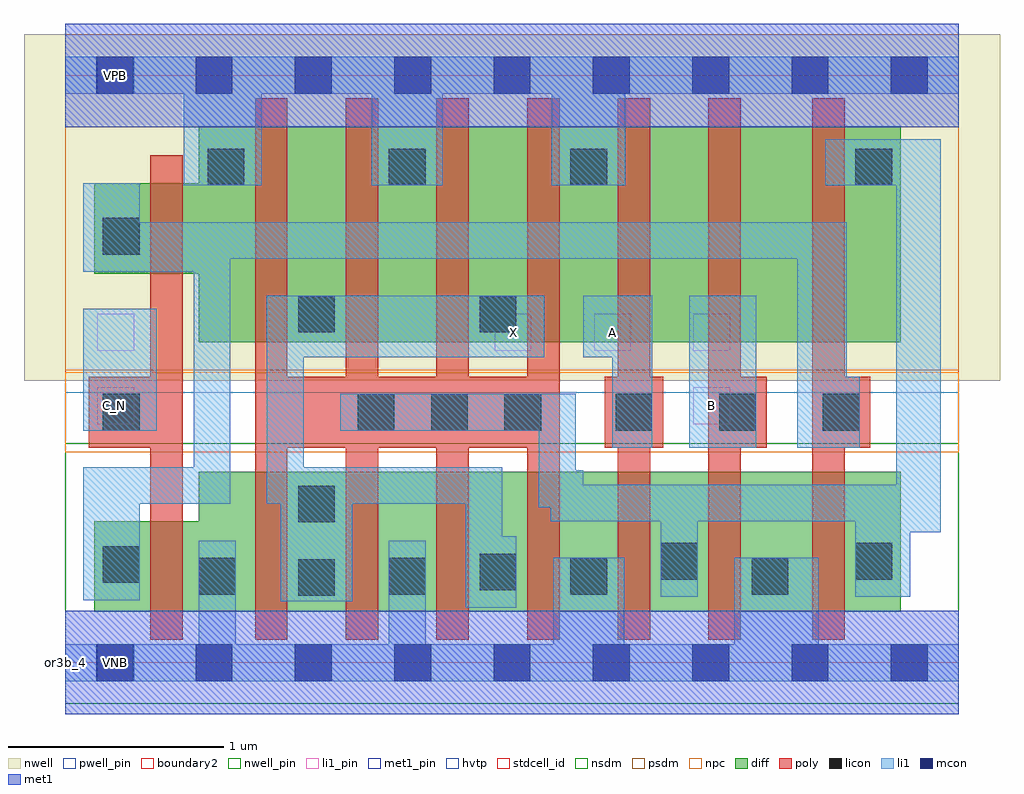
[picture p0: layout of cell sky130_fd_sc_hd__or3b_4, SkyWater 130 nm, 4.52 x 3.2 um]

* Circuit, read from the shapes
.subckt sky130_fd_sc_hd__or3b_4 A B C_N VGND VNB VPB VPWR X
XM1 VGND C_N n1 VNB sky130_fd_pr__nfet_01v8 w=0.42 l=0.15
XM2 X n2 VGND VNB sky130_fd_pr__nfet_01v8 w=0.65 l=0.15 m=4
XM3 n2 A VGND VNB sky130_fd_pr__nfet_01v8 w=0.65 l=0.15
XM4 VGND B n2 VNB sky130_fd_pr__nfet_01v8 w=0.65 l=0.15
XM5 n2 n1 VGND VNB sky130_fd_pr__nfet_01v8 w=0.65 l=0.15
XM6 VPWR C_N n1 VPB sky130_fd_pr__pfet_01v8_hvt w=0.42 l=0.15
XM7 X n2 VPWR VPB sky130_fd_pr__pfet_01v8_hvt w=1 l=0.15 m=4
XM8 n3 A VPWR VPB sky130_fd_pr__pfet_01v8_hvt w=1 l=0.15
XM9 n4 B n3 VPB sky130_fd_pr__pfet_01v8_hvt w=1 l=0.15
XM10 n2 n1 n4 VPB sky130_fd_pr__pfet_01v8_hvt w=1 l=0.15
.ends

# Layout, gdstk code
import gdstk
lib = gdstk.Library(unit=1e-6, precision=1e-09)
def R(c, l, rs):  # rectangles x0, y0, x1, y1
    for r in rs: c.add(gdstk.rectangle(r[:2], r[2:], *l))
def A(c, l, x, y, w, h, nx, ny, dx, dy):  # array of equal rectangles
    R(c, l, [(x+i*dx, y+j*dy, x+i*dx+w, y+j*dy+h) for i in range(nx) for j in range(ny)])
def P(c, l, *ps):  # polygons
    for p in ps: c.add(gdstk.Polygon(p, *l))
nwell_pin = (64, 16)
nwell = (64, 20)
diff = (65, 20)
poly = (66, 20)
licon = (66, 44)
li1_pin = (67, 16)
li1 = (67, 20)
mcon = (67, 44)
met1_pin = (68, 16)
met1 = (68, 20)
hvtp = (78, 44)
stdcell_id = (81, 4)
nsdm = (93, 44)
psdm = (94, 20)
npc = (95, 20)
pwell_pin = (122, 16)
boundary2 = (236, 0)

sky130_fd_sc_hd__or3b_4 = lib.new_cell('sky130_fd_sc_hd__or3b_4')
R(sky130_fd_sc_hd__or3b_4, nwell_pin, [(0.15,2.635,0.32,2.805)])
R(sky130_fd_sc_hd__or3b_4, nwell, [(-0.19,1.305,4.33,2.91)])
P(sky130_fd_sc_hd__or3b_4, diff, [(3.87,2.485),(0.62,2.485),(0.62,2.22),(0.135,2.22),(0.135,1.8),(0.62,1.8),(0.62,1.485),(3.87,1.485)],
  [(3.87,0.885),(0.62,0.885),(0.62,0.655),(0.135,0.655),(0.135,0.235),(3.87,0.235)])
P(sky130_fd_sc_hd__or3b_4, poly, [(3.73,1.325),(3.61,1.325),(3.61,2.615),(3.46,2.615),(3.46,0.105),(3.61,0.105),(3.61,0.995),(3.73,0.995)],
  [(3.25,1.325),(3.13,1.325),(3.13,2.615),(2.98,2.615),(2.98,0.105),(3.13,0.105),(3.13,0.995),(3.25,0.995)],
  [(2.29,2.615),(2.14,2.615),(2.14,1.325),(1.87,1.325),(1.87,2.615),(1.72,2.615),(1.72,1.325),(1.45,1.325),(1.45,2.615),(1.3,2.615),(1.3,1.325),(1.03,1.325),(1.03,2.615),(0.88,2.615),(0.88,0.105),(1.03,0.105),(1.03,0.995),(1.3,0.995),(1.3,0.105),(1.45,0.105),(1.45,0.995),(1.72,0.995),(1.72,0.105),(1.87,0.105),(1.87,0.995),(2.14,0.995),(2.14,0.105),(2.29,0.105)],
  [(2.77,1.325),(2.71,1.325),(2.71,2.615),(2.56,2.615),(2.56,1.325),(2.5,1.325),(2.5,0.995),(2.56,0.995),(2.56,0.105),(2.71,0.105),(2.71,0.995),(2.77,0.995)],
  [(0.545,2.35),(0.395,2.35),(0.395,1.325),(0.11,1.325),(0.11,0.995),(0.395,0.995),(0.395,0.105),(0.545,0.105)])
A(sky130_fd_sc_hd__or3b_4, licon, 1.5, 0.315, 0.17, 0.17, 3, 1, 0.84, 0)
A(sky130_fd_sc_hd__or3b_4, licon, 1.355, 1.075, 0.17, 0.17, 3, 1, 0.34, 0)
A(sky130_fd_sc_hd__or3b_4, licon, 2.55, 1.075, 0.17, 0.17, 3, 1, 0.48, 0)
A(sky130_fd_sc_hd__or3b_4, licon, 0.66, 2.21, 0.17, 0.17, 3, 1, 0.84, 0)
R(sky130_fd_sc_hd__or3b_4, licon, [(1.08,0.31,1.25,0.48), (0.62,0.315,0.79,0.485), (1.92,0.335,2.09,0.505), (0.175,0.37,0.345,0.54), (2.76,0.385,2.93,0.555), (3.66,0.385,3.83,0.555), (1.08,0.65,1.25,0.82), (0.175,1.075,0.345,1.245), (1.08,1.53,1.25,1.7), (1.92,1.53,2.09,1.7), (0.175,1.89,0.345,2.06), (3.66,2.21,3.83,2.38)])
A(sky130_fd_sc_hd__or3b_4, li1_pin, 1.99, 1.445, 0.17, 0.17, 3, 1, 0.46, 0)
R(sky130_fd_sc_hd__or3b_4, li1_pin, [(0.15,1.105,0.32,1.275), (2.91,1.105,3.08,1.275), (0.15,1.445,0.32,1.615)])
R(sky130_fd_sc_hd__or3b_4, li1, [(2.89,0.995,3.2,1.7), (0.085,1.075,0.425,1.64)])
P(sky130_fd_sc_hd__or3b_4, li1, [(2.22,1.7),(0.935,1.7),(0.935,0.735),(1,0.735),(1,0.285),(1.33,0.285),(1.33,0.735),(1.855,0.735),(1.855,0.255),(2.09,0.255),(2.09,0.585),(2.025,0.585),(2.025,0.905),(1.105,0.905),(1.105,1.415),(2.22,1.415)],
  [(4.14,0.085),(3.49,0.085),(3.49,0.485),(3.1,0.485),(3.1,0.085),(2.59,0.085),(2.59,0.485),(2.26,0.485),(2.26,0.085),(1.67,0.085),(1.67,0.565),(1.5,0.565),(1.5,0.085),(0.79,0.085),(0.79,0.565),(0.62,0.565),(0.62,0.085),(0,0.085),(0,-0.085),(4.14,-0.085)],
  [(4.14,2.805),(0,2.805),(0,2.635),(0.55,2.635),(0.55,2.21),(0.91,2.21),(0.91,2.635),(1.42,2.635),(1.42,2.21),(1.75,2.21),(1.75,2.635),(2.255,2.635),(2.255,2.21),(2.595,2.21),(2.595,2.635),(4.14,2.635)],
  [(2.72,1.7),(2.4,1.7),(2.4,1.415),(2.535,1.415),(2.535,0.995),(2.72,0.995)],
  [(3.68,1.325),(3.62,1.325),(3.62,2.04),(0.345,2.04),(0.345,2.22),(0.085,2.22),(0.085,1.81),(0.595,1.81),(0.595,0.905),(0.085,0.905),(0.085,0.29),(0.345,0.29),(0.345,0.735),(0.765,0.735),(0.765,1.87),(3.39,1.87),(3.39,0.995),(3.68,0.995)],
  [(4.055,2.425),(3.52,2.425),(3.52,2.21),(3.85,2.21),(3.85,0.825),(2.4,0.825),(2.4,0.89),(2.365,0.89),(2.365,1.245),(1.275,1.245),(1.275,1.075),(2.195,1.075),(2.195,0.72),(2.25,0.72),(2.25,0.655),(2.76,0.655),(2.76,0.305),(2.93,0.305),(2.93,0.655),(3.66,0.655),(3.66,0.305),(3.915,0.305),(3.915,0.605),(4.055,0.605)])
A(sky130_fd_sc_hd__or3b_4, mcon, 0.145, -0.085, 0.17, 0.17, 9, 2, 0.46, 2.72)
R(sky130_fd_sc_hd__or3b_4, met1_pin, [(0.15,-0.085,0.32,0.085), (0.15,2.635,0.32,2.805)])
R(sky130_fd_sc_hd__or3b_4, hvtp, [(0,1.25,4.14,2.72)])
R(sky130_fd_sc_hd__or3b_4, stdcell_id, [(0,0,4.14,2.72)])
R(sky130_fd_sc_hd__or3b_4, nsdm, [(0,-0.19,4.14,1.015)])
R(sky130_fd_sc_hd__or3b_4, psdm, [(0,1.355,4.14,2.91)])
R(sky130_fd_sc_hd__or3b_4, npc, [(0,0.975,4.14,1.345)])
R(sky130_fd_sc_hd__or3b_4, pwell_pin, [(0.15,-0.085,0.32,0.085)])
R(sky130_fd_sc_hd__or3b_4, boundary2, [(0,0,4.14,2.72)])
sky130_fd_sc_hd__or3b_4.add(gdstk.FlexPath([(0,2.72),(4.14,2.72)], 0.48, ends="flush", simple_path=True, layer=68, datatype=20))  # met1
sky130_fd_sc_hd__or3b_4.add(gdstk.FlexPath([(0,0),(4.14,0)], 0.48, ends="flush", simple_path=True, layer=68, datatype=20))  # met1
sky130_fd_sc_hd__or3b_4.add(gdstk.Label('A', (2.535,1.53), layer=67, texttype=5))
sky130_fd_sc_hd__or3b_4.add(gdstk.Label('B', (2.995,1.19), layer=67, texttype=5))
sky130_fd_sc_hd__or3b_4.add(gdstk.Label('C_N', (0.23,1.19), layer=67, texttype=5))
sky130_fd_sc_hd__or3b_4.add(gdstk.Label('X', (2.075,1.53), layer=67, texttype=5))
sky130_fd_sc_hd__or3b_4.add(gdstk.Label('VNB', (0.235,0), layer=64, texttype=59))
sky130_fd_sc_hd__or3b_4.add(gdstk.Label('VPB', (0.235,2.72), layer=64, texttype=5))
sky130_fd_sc_hd__or3b_4.add(gdstk.Label('VGND', (0.23,0), layer=68, texttype=5))
sky130_fd_sc_hd__or3b_4.add(gdstk.Label('VPWR', (0.23,2.72), layer=68, texttype=5))
sky130_fd_sc_hd__or3b_4.add(gdstk.Label('or3b_4', (0,0), layer=83, texttype=44))

lib.write_gds('sky130_fd_sc_hd__or3b_4.gds')
